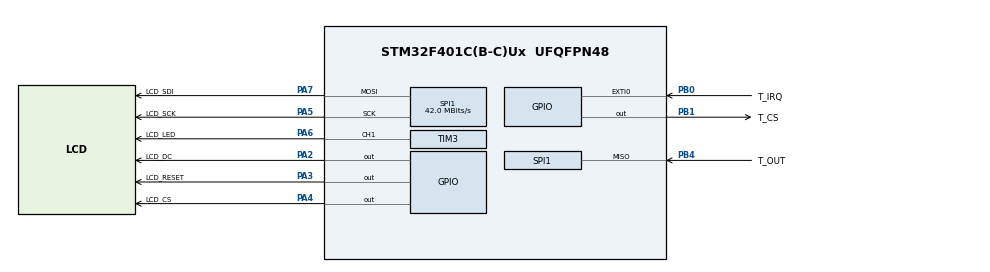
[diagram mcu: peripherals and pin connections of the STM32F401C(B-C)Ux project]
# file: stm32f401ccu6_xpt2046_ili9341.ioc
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Dma.Request0=SPI1_TX
Dma.SPI1_TX.0.Direction=DMA_MEMORY_TO_PERIPH
Dma.SPI1_TX.0.FIFOMode=DMA_FIFOMODE_DISABLE
Dma.SPI1_TX.0.Instance=DMA2_Stream3
Dma.SPI1_TX.0.MemDataAlignment=DMA_MDATAALIGN_HALFWORD
Dma.SPI1_TX.0.MemInc=DMA_MINC_ENABLE
Dma.SPI1_TX.0.Mode=DMA_NORMAL
Dma.SPI1_TX.0.PeriphDataAlignment=DMA_PDATAALIGN_HALFWORD
Dma.SPI1_TX.0.PeriphInc=DMA_PINC_DISABLE
Dma.SPI1_TX.0.Priority=DMA_PRIORITY_LOW
Mcu.Family=STM32F4
Mcu.Name=STM32F401C(B-C)Ux
Mcu.Package=UFQFPN48
NVIC.DMA2_Stream3_IRQn=true\:3\:0\:true\:false\:true\:false\:true\:true
NVIC.EXTI0_IRQn=true\:4\:0\:true\:false\:true\:true\:true\:true
NVIC.PriorityGroup=NVIC_PRIORITYGROUP_4
PA13.Mode=Serial_Wire
PA13.Signal=SYS_JTMS-SWDIO
PA14.Mode=Serial_Wire
PA14.Signal=SYS_JTCK-SWCLK
PA2.GPIO_Label=LCD_DC
PA2.GPIO_Speed=GPIO_SPEED_FREQ_HIGH
PA2.PinState=GPIO_PIN_SET
PA2.Signal=GPIO_Output
PA3.GPIO_Label=LCD_RESET
PA3.GPIO_Speed=GPIO_SPEED_FREQ_HIGH
PA3.PinState=GPIO_PIN_SET
PA3.Signal=GPIO_Output
PA4.GPIO_Label=LCD_CS
PA4.GPIO_PuPd=GPIO_PULLUP
PA4.GPIO_Speed=GPIO_SPEED_FREQ_HIGH
PA4.PinState=GPIO_PIN_SET
PA4.Signal=GPIO_Output
PA5.GPIO_Label=LCD_SCK
PA5.GPIO_PuPd=GPIO_NOPULL
PA5.Mode=Full_Duplex_Master
PA5.Signal=SPI1_SCK
PA6.GPIO_Label=LCD_LED
PA6.Signal=S_TIM3_CH1
PA7.GPIO_Label=LCD_SDI
PA7.GPIO_PuPd=GPIO_NOPULL
PA7.Mode=Full_Duplex_Master
PA7.Signal=SPI1_MOSI
PB0.GPIO_Label=T_IRQ
PB0.GPIO_ModeDefaultEXTI=GPIO_MODE_IT_FALLING
PB0.GPIO_PuPd=GPIO_PULLUP
PB0.Signal=GPXTI0
PB1.GPIO_Label=T_CS
PB1.GPIO_PuPd=GPIO_PULLUP
PB1.GPIO_Speed=GPIO_SPEED_FREQ_HIGH
PB1.PinState=GPIO_PIN_SET
PB1.Signal=GPIO_Output
PB4.GPIO_Label=T_OUT
PB4.GPIO_PuPd=GPIO_PULLUP
PB4.Mode=Full_Duplex_Master
PB4.Signal=SPI1_MISO
PH0\ -\ OSC_IN.Mode=HSE-External-Oscillator
PH0\ -\ OSC_IN.Signal=RCC_OSC_IN
PH1\ -\ OSC_OUT.Mode=HSE-External-Oscillator
PH1\ -\ OSC_OUT.Signal=RCC_OSC_OUT
ProjectManager.HeapSize=0x200
ProjectManager.StackSize=0x400
ProjectManager.TargetToolchain=STM32CubeIDE
RCC.48MHZClocksFreq_Value=42000000
RCC.AHBFreq_Value=84000000
RCC.APB1CLKDivider=RCC_HCLK_DIV2
RCC.APB1Freq_Value=42000000
RCC.APB1TimFreq_Value=84000000
RCC.APB2Freq_Value=84000000
RCC.APB2TimFreq_Value=84000000
RCC.CortexFreq_Value=84000000
RCC.EnbaleCSS=true
RCC.HCLKFreq_Value=84000000
RCC.HSE_VALUE=25000000
RCC.HSI_VALUE=16000000
RCC.LSE_VALUE=32768
RCC.PLLM=25
RCC.PLLN=168
RCC.PLLSourceVirtual=RCC_PLLSOURCE_HSE
RCC.SYSCLKFreq_VALUE=84000000
RCC.SYSCLKSource=RCC_SYSCLKSOURCE_PLLCLK
RCC.VCOOutputFreq_Value=168000000
SH.S_TIM3_CH1.0=TIM3_CH1,PWM Generation1 CH1
SPI1.BaudRatePrescaler=SPI_BAUDRATEPRESCALER_2
SPI1.CLKPolarity=SPI_POLARITY_LOW
SPI1.CalculateBaudRate=42.0 MBits/s
SPI1.DataSize=SPI_DATASIZE_16BIT
SPI1.Direction=SPI_DIRECTION_2LINES
SPI1.Mode=SPI_MODE_MASTER
SPI1.VirtualType=VM_MASTER
TIM3.Channel-PWM\ Generation1\ CH1=TIM_CHANNEL_1
TIM3.Period=209
TIM3.Prescaler=999
TIM3.Pulse-PWM\ Generation1\ CH1=104
board=custom

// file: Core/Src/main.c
/* USER CODE BEGIN Header */
/*
 * Демонстрация работы с сенсорным экраном (тачскрином) на базе контроллера XPT2046 (HR2046 и т.п.)
 * и дисплеем на базе контроллера ILI9341 (spi)
 *
 * Copyright (C) 2022, VadRov, all right reserved.
 *
 * https://www.youtube.com/@VadRov
 * https://dzen.ru/vadrov
 * https://vk.com/vadrov
 * https://t.me/vadrov_channel
 *
 */
/* USER CODE END Header */
#include "main.h"

/* USER CODE BEGIN Includes */
#include "display.h"
#include "ili9341.h"
#include "xpt2046.h"
#include "calibrate_touch.h"
#include "demo.h"
#include <stdlib.h>
#include <stdio.h>
#include <string.h>
/* USER CODE END Includes */

/* USER CODE BEGIN PTD */
uint32_t millis = 0;
/* USER CODE END PTD */

void SystemClock_Config(void);
static void MX_GPIO_Init(void);
static void MX_DMA_Init(void);
static void MX_SPI1_Init(void);
static void MX_TIM3_Init(void);
/* USER CODE BEGIN PFP */

/* Для тех, кто не умеет пользоваться отладчиком или
 * тех, у кого он не работает */
/*
static void convert64bit_to_hex(uint8_t *v, char *b)
{
	 b[0] = 0;
	 sprintf(&b[strlen(b)], "0x");
	 for (int i = 0; i < 8; i++) {
		 sprintf(&b[strlen(b)], "%02x", v[7 - i]);
	 }
}
*/

/* USER CODE END PFP */

int main(void)
{
  /* USER CODE BEGIN 1 */
/* Включаем кэширование инструкций */
#if (INSTRUCTION_CACHE_ENABLE != 0U)
	((FLASH_TypeDef *) ((0x40000000UL + 0x00020000UL) + 0x3C00UL))->ACR |= (0x1UL << (9U));
#endif

/* Включаем кэширование данных */
#if (DATA_CACHE_ENABLE != 0U)
	((FLASH_TypeDef *) ((0x40000000UL + 0x00020000UL) + 0x3C00UL))->ACR |= (0x1UL << (10U));
#endif

/* Включаем систему предварительной выборки инструкций */
#if (PREFETCH_ENABLE != 0U)
	((FLASH_TypeDef *) ((0x40000000UL + 0x00020000UL) + 0x3C00UL))->ACR |= (0x1UL << (8U));
#endif
  /* USER CODE END 1 */

  /* MCU Configuration--------------------------------------------------------*/

  /* Reset of all peripherals, Initializes the Flash interface and the Systick. */
  LL_APB2_GRP1_EnableClock(LL_APB2_GRP1_PERIPH_SYSCFG);
  LL_APB1_GRP1_EnableClock(LL_APB1_GRP1_PERIPH_PWR);

  /* System interrupt init*/
  NVIC_SetPriorityGrouping(NVIC_PRIORITYGROUP_4);

  /* SysTick_IRQn interrupt configuration */
  NVIC_SetPriority(SysTick_IRQn, NVIC_EncodePriority(NVIC_GetPriorityGrouping(),15, 0));

  /* Configure the system clock */
  SystemClock_Config();

  /* USER CODE BEGIN SysInit */
  //Настраиваем системный таймер (прерывания 1000 раз в секунду)
  SysTick_Config(SystemCoreClock/1000);
  /* USER CODE END SysInit */

  /* Initialize all configured peripherals */
  MX_GPIO_Init();
  MX_DMA_Init();
  MX_SPI1_Init();
  MX_TIM3_Init();
  /* USER CODE BEGIN 2 */

  /* -------------------------------------- Настройка дисплея ------------------------------------------*/
  //Данные DMA
  LCD_DMA_TypeDef dma_tx = { .dma    = DMA2,				//Контроллер DMA
    		  	  	  	  	 .stream = LL_DMA_STREAM_3 };	//Поток контроллера DMA

  //Данные подсветки
  LCD_BackLight_data bkl_data = { .htim_bk 		   = TIM3,				 //Таймер - для подсветки с PWM (изменение яркости подсветки)
    		  	  	  	  	  	  .channel_htim_bk = LL_TIM_CHANNEL_CH1, //Канал таймера - для подсветки с PWM (изменение яркости подсветки)
								  .blk_port 	   = 0,					 //Порт gpio - подсветка по типу вкл./выкл.
								  .blk_pin 		   = 0,					 //Вывод порта - подсветка по типу вкл./выкл.
								  .bk_percent	   = 60  };				 //Яркость подсветки, в %

  //Данные подключения
  LCD_SPI_Connected_data spi_con = { .spi 		 = SPI1,				//Используемый spi
    		  	  	  	  	  	  	 .dma_tx 	 = dma_tx,				//Данные DMA
									 .reset_port = LCD_RESET_GPIO_Port,	//Порт вывода RES
									 .reset_pin  = LCD_RESET_Pin,		//Пин вывода RES
									 .dc_port 	 = LCD_DC_GPIO_Port,	//Порт вывода DC
									 .dc_pin 	 = LCD_DC_Pin,			//Пин вывода DC
									 .cs_port	 = LCD_CS_GPIO_Port,	//Порт вывода CS
									 .cs_pin	 = LCD_CS_Pin         };//Пин вывода CS

#ifndef  LCD_DYNAMIC_MEM
  LCD_Handler lcd1;
#endif
   //создаем обработчик дисплея ILI9341
   LCD = LCD_DisplayAdd( LCD,
#ifndef  LCD_DYNAMIC_MEM
		   	   	   	   	 &lcd1,
#endif
		   	   	   	   	 240,
						 320,
						 ILI9341_CONTROLLER_WIDTH,
						 ILI9341_CONTROLLER_HEIGHT,
						 //Задаем смещение по ширине и высоте для нестандартных или бракованных дисплеев:
						 0,		//смещение по ширине дисплейной матрицы
						 0,		//смещение по высоте дисплейной матрицы
						 PAGE_ORIENTATION_PORTRAIT_MIRROR,
						 ILI9341_Init,
						 ILI9341_SetWindow,
						 ILI9341_SleepIn,
						 ILI9341_SleepOut,
						 &spi_con,
						 LCD_DATA_16BIT_BUS,
						 bkl_data				   );

  LCD_Handler *lcd = LCD; 		//Указатель на первый дисплей в списке
  LCD_Init(lcd); 				//Инициализация дисплея
  LCD_Fill(lcd, COLOR_RED);		//Заливка дисплея
  /*---------------------------------------------------------------------------------------------------*/

  /* ----------------------------------- Настройка тачскрина ------------------------------------------*/
  //Будем обмениваться данными с XPT2046 на скорости 2.625 Мбит/с (по спецификации максимум 2.0 Мбит/с).
  XPT2046_ConnectionData cnt_touch = { .spi 	 = SPI1,			//Используемый spi
		  	  	  	  	  	  	  	   .speed 	 = 4,				//Скорость spi 0...7 (0 - clk/2, 1 - clk/4, ..., 7 - clk/256)
									   .cs_port  = T_CS_GPIO_Port,	//Порт для управления T_CS
									   .cs_pin 	 = T_CS_Pin,		//Вывод порта для управления T_CS
									   .irq_port = T_IRQ_GPIO_Port,	//Порт для управления T_IRQ
									   .irq_pin  = T_IRQ_Pin,		//Вывод порта для управления T_IRQ
									   .exti_irq = T_IRQ_EXTI_IRQn  //Канал внешнего прерывания
  	  	  	  	  	  	  	  	  	 };
  //Инициализация обработчика XPT2046
  XPT2046_Handler touch1;
  XPT2046_InitTouch(&touch1, 20, &cnt_touch);
/* Самый простой вариант хранения в программе
 * коэффициентов калибровки. Строку XPT2046_CalibrateTouch
 * надо будет закомментировать */
/*
  tCoef coef = {.D   = 0x00022b4253626d37,
  	  	  	  	.Dx1 = 0xffffd9e9e85d81b6,
  	  	  	  	.Dx2 = 0x0000005a555c98ab,
  	  	  	  	.Dx3 = 0x022dd7f0419e66b7,
  	  	  	  	.Dy1 = 0xffffff6065e10c98,
  	  	  	    .Dy2 = 0x0000343b820dc8bf,
  	  	  	  	.Dy3 = 0xff9cc25725238e55 };
  touch1.coef = coef;
*/
  /* Калибровка тачскрина
   * Если коэффициенты калибровки выше определены, то эту строку надо
   * закомментировать */
  XPT2046_CalibrateTouch(&touch1, lcd); //Запускаем процедуру калибровки

  /* Вывод на дисплей 64 битных коэффициентов калибровки для тех,
   * кто не умеет пользоваться отладчиком или для тех,
   * у кого он не работает. До использования не забудьте раскомментировать
   * функцию convert64bit_to_hex */
  /*
  char b[100];
  convert64bit_to_hex((uint8_t*)(&touch1.coef.D), b);
  LCD_WriteString(lcd, 0, 0, b, &Font_12x20, COLOR_YELLOW, COLOR_BLUE, LCD_SYMBOL_PRINT_FAST);
  convert64bit_to_hex((uint8_t*)(&touch1.coef.Dx1), b);
  LCD_WriteString(lcd, 0, 20, b, &Font_12x20, COLOR_YELLOW, COLOR_BLUE, LCD_SYMBOL_PRINT_FAST);
  convert64bit_to_hex((uint8_t*)(&touch1.coef.Dx2), b);
  LCD_WriteString(lcd, 0, 40, b, &Font_12x20, COLOR_YELLOW, COLOR_BLUE, LCD_SYMBOL_PRINT_FAST);
  convert64bit_to_hex((uint8_t*)(&touch1.coef.Dx3), b);
  LCD_WriteString(lcd, 0, 60, b, &Font_12x20, COLOR_YELLOW, COLOR_BLUE, LCD_SYMBOL_PRINT_FAST);
  convert64bit_to_hex((uint8_t*)(&touch1.coef.Dy1), b);
  LCD_WriteString(lcd, 0, 80, b, &Font_12x20, COLOR_YELLOW, COLOR_BLUE, LCD_SYMBOL_PRINT_FAST);
  convert64bit_to_hex((uint8_t*)(&touch1.coef.Dy2), b);
  LCD_WriteString(lcd, 0, 100, b, &Font_12x20, COLOR_YELLOW, COLOR_BLUE, LCD_SYMBOL_PRINT_FAST);
  convert64bit_to_hex((uint8_t*)(&touch1.coef.Dy3), b);
  LCD_WriteString(lcd, 0, 120, b, &Font_12x20, COLOR_YELLOW, COLOR_BLUE, LCD_SYMBOL_PRINT_FAST);
while(1) { }
  //После того, как перенесете параметры в coef это все "дело" закомментируйте
*/

  /* --------------------------------------------------------------------------------------------------*/

  //----------------------------------------- Запуск демок --------------------------------------------*/

  //Демка для рисования на экране с помощью тачскрина.
  Draw_TouchPenDemo(&touch1, lcd);

  //Демка рисует примитивы, отображает температуру и позволяет перемещать круг по дисплею.
  //При удержании касания окрашивает дисплей случайным цветом.
  RoadCircleDemo(&touch1, lcd);

  /* --------------------------------------------------------------------------------------------------*/

  /* USER CODE END 2 */

  /* Infinite loop */
  while (1)
  {

  }
}

void SystemClock_Config(void)
{
  LL_FLASH_SetLatency(LL_FLASH_LATENCY_2);
  while(LL_FLASH_GetLatency()!= LL_FLASH_LATENCY_2)
  {
  }
  LL_PWR_SetRegulVoltageScaling(LL_PWR_REGU_VOLTAGE_SCALE2);
  LL_RCC_HSE_Enable();

   /* Wait till HSE is ready */
  while(LL_RCC_HSE_IsReady() != 1)
  {

  }
  LL_RCC_HSE_EnableCSS();
  LL_RCC_PLL_ConfigDomain_SYS(LL_RCC_PLLSOURCE_HSE, LL_RCC_PLLM_DIV_25, 168, LL_RCC_PLLP_DIV_2);
  LL_RCC_PLL_Enable();

   /* Wait till PLL is ready */
  while(LL_RCC_PLL_IsReady() != 1)
  {

  }
  LL_RCC_SetAHBPrescaler(LL_RCC_SYSCLK_DIV_1);
  LL_RCC_SetAPB1Prescaler(LL_RCC_APB1_DIV_2);
  LL_RCC_SetAPB2Prescaler(LL_RCC_APB2_DIV_1);
  LL_RCC_SetSysClkSource(LL_RCC_SYS_CLKSOURCE_PLL);

   /* Wait till System clock is ready */
  while(LL_RCC_GetSysClkSource() != LL_RCC_SYS_CLKSOURCE_STATUS_PLL)
  {

  }
  LL_Init1msTick(84000000);
  LL_SetSystemCoreClock(84000000);
  LL_RCC_SetTIMPrescaler(LL_RCC_TIM_PRESCALER_TWICE);
}

static void MX_SPI1_Init(void)
{

  LL_SPI_InitTypeDef SPI_InitStruct = {0};

  LL_GPIO_InitTypeDef GPIO_InitStruct = {0};

  /* Peripheral clock enable */
  LL_APB2_GRP1_EnableClock(LL_APB2_GRP1_PERIPH_SPI1);

  LL_AHB1_GRP1_EnableClock(LL_AHB1_GRP1_PERIPH_GPIOA);
  LL_AHB1_GRP1_EnableClock(LL_AHB1_GRP1_PERIPH_GPIOB);
  /**SPI1 GPIO Configuration
  PA5   ------> SPI1_SCK
  PA7   ------> SPI1_MOSI
  PB4   ------> SPI1_MISO
  */
  GPIO_InitStruct.Pin = LCD_SCK_Pin|LCD_SDI_Pin;
  GPIO_InitStruct.Mode = LL_GPIO_MODE_ALTERNATE;
  GPIO_InitStruct.Speed = LL_GPIO_SPEED_FREQ_VERY_HIGH;
  GPIO_InitStruct.OutputType = LL_GPIO_OUTPUT_PUSHPULL;
  GPIO_InitStruct.Pull = LL_GPIO_PULL_NO;
  GPIO_InitStruct.Alternate = LL_GPIO_AF_5;
  LL_GPIO_Init(GPIOA, &GPIO_InitStruct);

  GPIO_InitStruct.Pin = T_OUT_Pin;
  GPIO_InitStruct.Mode = LL_GPIO_MODE_ALTERNATE;
  GPIO_InitStruct.Speed = LL_GPIO_SPEED_FREQ_VERY_HIGH;
  GPIO_InitStruct.OutputType = LL_GPIO_OUTPUT_PUSHPULL;
  GPIO_InitStruct.Pull = LL_GPIO_PULL_UP;
  GPIO_InitStruct.Alternate = LL_GPIO_AF_5;
  LL_GPIO_Init(T_OUT_GPIO_Port, &GPIO_InitStruct);

  /* SPI1 DMA Init */

  /* SPI1_TX Init */
  LL_DMA_SetChannelSelection(DMA2, LL_DMA_STREAM_3, LL_DMA_CHANNEL_3);

  LL_DMA_SetDataTransferDirection(DMA2, LL_DMA_STREAM_3, LL_DMA_DIRECTION_MEMORY_TO_PERIPH);

  LL_DMA_SetStreamPriorityLevel(DMA2, LL_DMA_STREAM_3, LL_DMA_PRIORITY_LOW);

  LL_DMA_SetMode(DMA2, LL_DMA_STREAM_3, LL_DMA_MODE_NORMAL);

  LL_DMA_SetPeriphIncMode(DMA2, LL_DMA_STREAM_3, LL_DMA_PERIPH_NOINCREMENT);

  LL_DMA_SetMemoryIncMode(DMA2, LL_DMA_STREAM_3, LL_DMA_MEMORY_INCREMENT);

  LL_DMA_SetPeriphSize(DMA2, LL_DMA_STREAM_3, LL_DMA_PDATAALIGN_HALFWORD);

  LL_DMA_SetMemorySize(DMA2, LL_DMA_STREAM_3, LL_DMA_MDATAALIGN_HALFWORD);

  LL_DMA_DisableFifoMode(DMA2, LL_DMA_STREAM_3);

  /* SPI1 parameter configuration*/
  SPI_InitStruct.TransferDirection = LL_SPI_FULL_DUPLEX;
  SPI_InitStruct.Mode = LL_SPI_MODE_MASTER;
  SPI_InitStruct.DataWidth = LL_SPI_DATAWIDTH_16BIT;
  SPI_InitStruct.ClockPolarity = LL_SPI_POLARITY_LOW;
  SPI_InitStruct.ClockPhase = LL_SPI_PHASE_1EDGE;
  SPI_InitStruct.NSS = LL_SPI_NSS_SOFT;
  SPI_InitStruct.BaudRate = LL_SPI_BAUDRATEPRESCALER_DIV2;
  SPI_InitStruct.BitOrder = LL_SPI_MSB_FIRST;
  SPI_InitStruct.CRCCalculation = LL_SPI_CRCCALCULATION_DISABLE;
  SPI_InitStruct.CRCPoly = 10;
  LL_SPI_Init(SPI1, &SPI_InitStruct);
  LL_SPI_SetStandard(SPI1, LL_SPI_PROTOCOL_MOTOROLA);

}

static void MX_TIM3_Init(void)
{

  LL_TIM_InitTypeDef TIM_InitStruct = {0};
  LL_TIM_OC_InitTypeDef TIM_OC_InitStruct = {0};

  LL_GPIO_InitTypeDef GPIO_InitStruct = {0};

  /* Peripheral clock enable */
  LL_APB1_GRP1_EnableClock(LL_APB1_GRP1_PERIPH_TIM3);

  TIM_InitStruct.Prescaler = 999;
  TIM_InitStruct.CounterMode = LL_TIM_COUNTERMODE_UP;
  TIM_InitStruct.Autoreload = 209;
  TIM_InitStruct.ClockDivision = LL_TIM_CLOCKDIVISION_DIV1;
  LL_TIM_Init(TIM3, &TIM_InitStruct);
  LL_TIM_DisableARRPreload(TIM3);
  LL_TIM_OC_EnablePreload(TIM3, LL_TIM_CHANNEL_CH1);
  TIM_OC_InitStruct.OCMode = LL_TIM_OCMODE_PWM1;
  TIM_OC_InitStruct.OCState = LL_TIM_OCSTATE_DISABLE;
  TIM_OC_InitStruct.OCNState = LL_TIM_OCSTATE_DISABLE;
  TIM_OC_InitStruct.CompareValue = 104;
  TIM_OC_InitStruct.OCPolarity = LL_TIM_OCPOLARITY_HIGH;
  LL_TIM_OC_Init(TIM3, LL_TIM_CHANNEL_CH1, &TIM_OC_InitStruct);
  LL_TIM_OC_DisableFast(TIM3, LL_TIM_CHANNEL_CH1);
  LL_TIM_SetTriggerOutput(TIM3, LL_TIM_TRGO_RESET);
  LL_TIM_DisableMasterSlaveMode(TIM3);
  LL_AHB1_GRP1_EnableClock(LL_AHB1_GRP1_PERIPH_GPIOA);
  /**TIM3 GPIO Configuration
  PA6   ------> TIM3_CH1
  */
  GPIO_InitStruct.Pin = LCD_LED_Pin;
  GPIO_InitStruct.Mode = LL_GPIO_MODE_ALTERNATE;
  GPIO_InitStruct.Speed = LL_GPIO_SPEED_FREQ_LOW;
  GPIO_InitStruct.OutputType = LL_GPIO_OUTPUT_PUSHPULL;
  GPIO_InitStruct.Pull = LL_GPIO_PULL_NO;
  GPIO_InitStruct.Alternate = LL_GPIO_AF_2;
  LL_GPIO_Init(LCD_LED_GPIO_Port, &GPIO_InitStruct);

}

static void MX_DMA_Init(void)
{

  /* Init with LL driver */
  /* DMA controller clock enable */
  LL_AHB1_GRP1_EnableClock(LL_AHB1_GRP1_PERIPH_DMA2);

  /* DMA interrupt init */
  /* DMA2_Stream3_IRQn interrupt configuration */
  NVIC_SetPriority(DMA2_Stream3_IRQn, NVIC_EncodePriority(NVIC_GetPriorityGrouping(),3, 0));
  NVIC_EnableIRQ(DMA2_Stream3_IRQn);

}

static void MX_GPIO_Init(void)
{
  LL_EXTI_InitTypeDef EXTI_InitStruct = {0};
  LL_GPIO_InitTypeDef GPIO_InitStruct = {0};

  /* GPIO Ports Clock Enable */
  LL_AHB1_GRP1_EnableClock(LL_AHB1_GRP1_PERIPH_GPIOH);
  LL_AHB1_GRP1_EnableClock(LL_AHB1_GRP1_PERIPH_GPIOA);
  LL_AHB1_GRP1_EnableClock(LL_AHB1_GRP1_PERIPH_GPIOB);

  /**/
  LL_GPIO_SetOutputPin(GPIOA, LCD_DC_Pin|LCD_RESET_Pin|LCD_CS_Pin);

  /**/
  LL_GPIO_SetOutputPin(T_CS_GPIO_Port, T_CS_Pin);

  /**/
  GPIO_InitStruct.Pin = LCD_DC_Pin|LCD_RESET_Pin;
  GPIO_InitStruct.Mode = LL_GPIO_MODE_OUTPUT;
  GPIO_InitStruct.Speed = LL_GPIO_SPEED_FREQ_HIGH;
  GPIO_InitStruct.OutputType = LL_GPIO_OUTPUT_PUSHPULL;
  GPIO_InitStruct.Pull = LL_GPIO_PULL_NO;
  LL_GPIO_Init(GPIOA, &GPIO_InitStruct);

  /**/
  GPIO_InitStruct.Pin = LCD_CS_Pin;
  GPIO_InitStruct.Mode = LL_GPIO_MODE_OUTPUT;
  GPIO_InitStruct.Speed = LL_GPIO_SPEED_FREQ_HIGH;
  GPIO_InitStruct.OutputType = LL_GPIO_OUTPUT_PUSHPULL;
  GPIO_InitStruct.Pull = LL_GPIO_PULL_UP;
  LL_GPIO_Init(LCD_CS_GPIO_Port, &GPIO_InitStruct);

  /**/
  GPIO_InitStruct.Pin = T_CS_Pin;
  GPIO_InitStruct.Mode = LL_GPIO_MODE_OUTPUT;
  GPIO_InitStruct.Speed = LL_GPIO_SPEED_FREQ_HIGH;
  GPIO_InitStruct.OutputType = LL_GPIO_OUTPUT_PUSHPULL;
  GPIO_InitStruct.Pull = LL_GPIO_PULL_UP;
  LL_GPIO_Init(T_CS_GPIO_Port, &GPIO_InitStruct);

  /**/
  LL_SYSCFG_SetEXTISource(LL_SYSCFG_EXTI_PORTB, LL_SYSCFG_EXTI_LINE0);

  /**/
  EXTI_InitStruct.Line_0_31 = LL_EXTI_LINE_0;
  EXTI_InitStruct.LineCommand = ENABLE;
  EXTI_InitStruct.Mode = LL_EXTI_MODE_IT;
  EXTI_InitStruct.Trigger = LL_EXTI_TRIGGER_FALLING;
  LL_EXTI_Init(&EXTI_InitStruct);

  /**/
  LL_GPIO_SetPinPull(T_IRQ_GPIO_Port, T_IRQ_Pin, LL_GPIO_PULL_UP);

  /**/
  LL_GPIO_SetPinMode(T_IRQ_GPIO_Port, T_IRQ_Pin, LL_GPIO_MODE_INPUT);

  /* EXTI interrupt init*/
  NVIC_SetPriority(EXTI0_IRQn, NVIC_EncodePriority(NVIC_GetPriorityGrouping(),4, 0));
  NVIC_EnableIRQ(EXTI0_IRQn);

}

void Error_Handler(void)
{
  __disable_irq();
  while (1)
  {
  }
}
